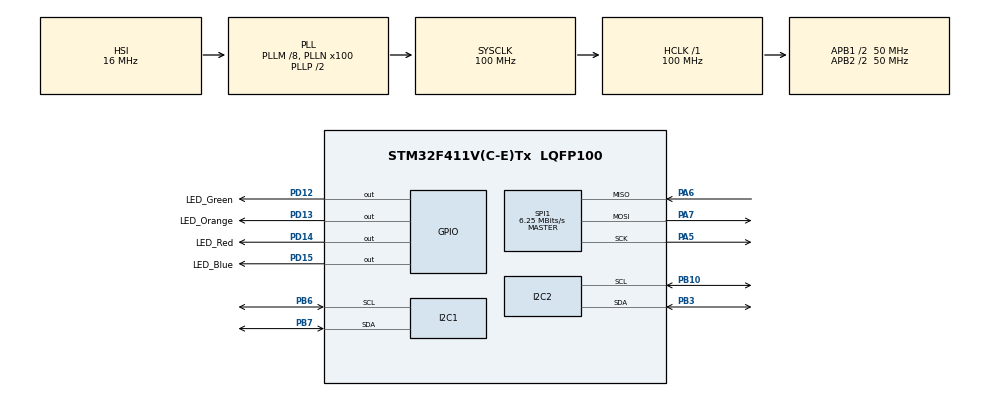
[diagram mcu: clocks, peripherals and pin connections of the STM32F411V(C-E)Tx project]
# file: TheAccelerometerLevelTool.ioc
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Mcu.Family=STM32F4
Mcu.Name=STM32F411V(C-E)Tx
Mcu.Package=LQFP100
NVIC.PriorityGroup=NVIC_PRIORITYGROUP_0
PA5.Mode=Full_Duplex_Master
PA5.Signal=SPI1_SCK
PA6.Mode=Full_Duplex_Master
PA6.Signal=SPI1_MISO
PA7.Mode=Full_Duplex_Master
PA7.Signal=SPI1_MOSI
PB10.Mode=I2C
PB10.Signal=I2C2_SCL
PB3.Mode=I2C
PB3.Signal=I2C2_SDA
PB6.Mode=I2C
PB6.Signal=I2C1_SCL
PB7.Mode=I2C
PB7.Signal=I2C1_SDA
PD12.GPIO_Label=LED_Green
PD12.Signal=GPIO_Output
PD13.GPIO_Label=LED_Orange
PD13.Signal=GPIO_Output
PD14.GPIO_Label=LED_Red
PD14.Signal=GPIO_Output
PD15.GPIO_Label=LED_Blue
PD15.Signal=GPIO_Output
ProjectManager.HeapSize=0x200
ProjectManager.StackSize=0x400
ProjectManager.TargetToolchain=STM32CubeIDE
RCC.48MHZClocksFreq_Value=25000000
RCC.AHBFreq_Value=100000000
RCC.APB1CLKDivider=RCC_HCLK_DIV2
RCC.APB1Freq_Value=50000000
RCC.APB1TimFreq_Value=100000000
RCC.APB2CLKDivider=RCC_HCLK_DIV2
RCC.APB2Freq_Value=50000000
RCC.APB2TimFreq_Value=100000000
RCC.CortexFreq_Value=100000000
RCC.HCLKFreq_Value=100000000
RCC.HSE_VALUE=8000000
RCC.HSI_VALUE=16000000
RCC.LSE_VALUE=32768
RCC.PLLI2SM=5
RCC.PLLI2SN=200
RCC.PLLM=8
RCC.PLLN=100
RCC.PLLQ=8
RCC.SYSCLKFreq_VALUE=100000000
RCC.SYSCLKSource=RCC_SYSCLKSOURCE_PLLCLK
RCC.VCOOutputFreq_Value=200000000
SPI1.BaudRatePrescaler=SPI_BAUDRATEPRESCALER_8
SPI1.CalculateBaudRate=6.25 MBits/s
SPI1.Direction=SPI_DIRECTION_2LINES
SPI1.Mode=SPI_MODE_MASTER
SPI1.VirtualType=VM_MASTER
board=STM32F411E-DISCO

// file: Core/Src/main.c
/* USER CODE BEGIN Header */
/**
  ******************************************************************************
  * @file           : main.c
  * @brief          : Main program body
  ******************************************************************************
  * @attention
  *
  * Copyright (c) 2022 STMicroelectronics.
  * All rights reserved.
  *
  * This software is licensed under terms that can be found in the LICENSE file
  * in the root directory of this software component.
  * If no LICENSE file comes with this software, it is provided AS-IS.
  *
  ******************************************************************************
  */
/* USER CODE END Header */
#include "main.h"

/* USER CODE BEGIN Includes */
#include <stdlib.h>
#include <stdio.h>
#include "../../../Drivers/BSP/STM32F411E-Discovery/stm32f411e_discovery.h"
#include "../../../Drivers/BSP/STM32F411E-Discovery/stm32f411e_discovery_accelerometer.h"
#include "ssd1306.h"
#include "fonts.h"
/* USER CODE END Includes */

I2C_HandleTypeDef hi2c1;
I2C_HandleTypeDef hi2c2;

SPI_HandleTypeDef hspi1;

void SystemClock_Config(void);
static void MX_GPIO_Init(void);
static void MX_I2C1_Init(void);
static void MX_I2C2_Init(void);
static void MX_SPI1_Init(void);

int main(void)
{

  /* MCU Configuration--------------------------------------------------------*/

  /* Reset of all peripherals, Initializes the Flash interface and the Systick. */
  HAL_Init();

  /* Configure the system clock */
  SystemClock_Config();

  /* USER CODE BEGIN SysInit */
  BSP_ACCELERO_Init();
  ssd1306_Init(&hi2c2);
  /* USER CODE END SysInit */

  /* Initialize all configured peripherals */
  MX_GPIO_Init();
  MX_I2C1_Init();
  MX_I2C2_Init();
  MX_SPI1_Init();
  /* USER CODE BEGIN 2 */
  int16_t axis[3] = {0};
  int16_t xAxis, yAxis = 0x00;

  int16_t ThresholdHigh = 1000;
  int16_t ThresholdLow = -1000;
  uint32_t delayMs = 10;

  char xText[16];
  char yText[16];

  int16_t xDisplay, xOffset = 1, xScale = 185;
  int16_t yDisplay, yOffset = 2, yScale = 180;

  void turnOnLed(GPIO_TypeDef* GPIOx, uint16_t GPIO_Pin)
  {
	  HAL_GPIO_WritePin(GPIOx, GPIO_Pin, GPIO_PIN_SET);
	  HAL_Delay(delayMs);
  }

  void turnOfLEDS()
  {
	  HAL_GPIO_WritePin(LED_Green_GPIO_Port, LED_Green_Pin, GPIO_PIN_RESET);
	  HAL_GPIO_WritePin(LED_Red_GPIO_Port, LED_Red_Pin, GPIO_PIN_RESET);
	  HAL_GPIO_WritePin(LED_Orange_GPIO_Port, LED_Orange_Pin, GPIO_PIN_RESET);
	  HAL_GPIO_WritePin(LED_Blue_GPIO_Port, LED_Blue_Pin, GPIO_PIN_RESET);
  }
  /* USER CODE END 2 */

  /* Infinite loop */
  while (1)
    {

      /* USER CODE BEGIN 3 */

  		BSP_ACCELERO_GetXYZ(axis);

  		ssd1306_Fill(Black);

  		xDisplay = axis[0] / xScale - xOffset;
  		yDisplay = axis[1] / yScale - yOffset;

  		xAxis = axis[0];
  		yAxis = axis[1];

  		if(abs(xAxis) > abs(yAxis))
  		{
  			if(xAxis > ThresholdHigh)
  				turnOnLed(LED_Green_GPIO_Port, LED_Green_Pin);

  			else if(xAxis < ThresholdLow)
  				turnOnLed(LED_Red_GPIO_Port, LED_Red_Pin);

  			else { HAL_Delay(delayMs); }
  		}

  		else
  		{
  			if(yAxis  > ThresholdHigh)
  				 turnOnLed(LED_Orange_GPIO_Port, LED_Orange_Pin);

  			else if(yAxis < ThresholdLow)
  				turnOnLed(LED_Blue_GPIO_Port, LED_Blue_Pin);

  			else { HAL_Delay(delayMs); }
  		}

  		ssd1306_SetCursor(10, 10);
  		sprintf(xText, "x: %d", xDisplay);
  		ssd1306_WriteString(xText, Font_11x18, White);

  		ssd1306_SetCursor(10, 40);
  		sprintf(yText, "y: %d", yDisplay);
  		ssd1306_WriteString(yText, Font_11x18, White);

  		ssd1306_UpdateScreen(&hi2c2);

  		turnOfLEDS();
  }
  /* USER CODE END 3 */
}

void SystemClock_Config(void)
{
  RCC_OscInitTypeDef RCC_OscInitStruct = {0};
  RCC_ClkInitTypeDef RCC_ClkInitStruct = {0};

  /** Configure the main internal regulator output voltage
  */
  __HAL_RCC_PWR_CLK_ENABLE();
  __HAL_PWR_VOLTAGESCALING_CONFIG(PWR_REGULATOR_VOLTAGE_SCALE1);

  /** Initializes the RCC Oscillators according to the specified parameters
  * in the RCC_OscInitTypeDef structure.
  */
  RCC_OscInitStruct.OscillatorType = RCC_OSCILLATORTYPE_HSI;
  RCC_OscInitStruct.HSIState = RCC_HSI_ON;
  RCC_OscInitStruct.HSICalibrationValue = RCC_HSICALIBRATION_DEFAULT;
  RCC_OscInitStruct.PLL.PLLState = RCC_PLL_ON;
  RCC_OscInitStruct.PLL.PLLSource = RCC_PLLSOURCE_HSI;
  RCC_OscInitStruct.PLL.PLLM = 8;
  RCC_OscInitStruct.PLL.PLLN = 100;
  RCC_OscInitStruct.PLL.PLLP = RCC_PLLP_DIV2;
  RCC_OscInitStruct.PLL.PLLQ = 8;
  if (HAL_RCC_OscConfig(&RCC_OscInitStruct) != HAL_OK)
  {
    Error_Handler();
  }

  /** Initializes the CPU, AHB and APB buses clocks
  */
  RCC_ClkInitStruct.ClockType = RCC_CLOCKTYPE_HCLK|RCC_CLOCKTYPE_SYSCLK
                              |RCC_CLOCKTYPE_PCLK1|RCC_CLOCKTYPE_PCLK2;
  RCC_ClkInitStruct.SYSCLKSource = RCC_SYSCLKSOURCE_PLLCLK;
  RCC_ClkInitStruct.AHBCLKDivider = RCC_SYSCLK_DIV1;
  RCC_ClkInitStruct.APB1CLKDivider = RCC_HCLK_DIV2;
  RCC_ClkInitStruct.APB2CLKDivider = RCC_HCLK_DIV2;

  if (HAL_RCC_ClockConfig(&RCC_ClkInitStruct, FLASH_LATENCY_3) != HAL_OK)
  {
    Error_Handler();
  }
}

static void MX_I2C1_Init(void)
{

  hi2c1.Instance = I2C1;
  hi2c1.Init.ClockSpeed = 100000;
  hi2c1.Init.DutyCycle = I2C_DUTYCYCLE_2;
  hi2c1.Init.OwnAddress1 = 0;
  hi2c1.Init.AddressingMode = I2C_ADDRESSINGMODE_7BIT;
  hi2c1.Init.DualAddressMode = I2C_DUALADDRESS_DISABLE;
  hi2c1.Init.OwnAddress2 = 0;
  hi2c1.Init.GeneralCallMode = I2C_GENERALCALL_DISABLE;
  hi2c1.Init.NoStretchMode = I2C_NOSTRETCH_DISABLE;
  if (HAL_I2C_Init(&hi2c1) != HAL_OK)
  {
    Error_Handler();
  }

}

static void MX_I2C2_Init(void)
{

  hi2c2.Instance = I2C2;
  hi2c2.Init.ClockSpeed = 100000;
  hi2c2.Init.DutyCycle = I2C_DUTYCYCLE_2;
  hi2c2.Init.OwnAddress1 = 0;
  hi2c2.Init.AddressingMode = I2C_ADDRESSINGMODE_7BIT;
  hi2c2.Init.DualAddressMode = I2C_DUALADDRESS_DISABLE;
  hi2c2.Init.OwnAddress2 = 0;
  hi2c2.Init.GeneralCallMode = I2C_GENERALCALL_DISABLE;
  hi2c2.Init.NoStretchMode = I2C_NOSTRETCH_DISABLE;
  if (HAL_I2C_Init(&hi2c2) != HAL_OK)
  {
    Error_Handler();
  }

}

static void MX_SPI1_Init(void)
{

  /* SPI1 parameter configuration*/
  hspi1.Instance = SPI1;
  hspi1.Init.Mode = SPI_MODE_MASTER;
  hspi1.Init.Direction = SPI_DIRECTION_2LINES;
  hspi1.Init.DataSize = SPI_DATASIZE_8BIT;
  hspi1.Init.CLKPolarity = SPI_POLARITY_LOW;
  hspi1.Init.CLKPhase = SPI_PHASE_1EDGE;
  hspi1.Init.NSS = SPI_NSS_SOFT;
  hspi1.Init.BaudRatePrescaler = SPI_BAUDRATEPRESCALER_8;
  hspi1.Init.FirstBit = SPI_FIRSTBIT_MSB;
  hspi1.Init.TIMode = SPI_TIMODE_DISABLE;
  hspi1.Init.CRCCalculation = SPI_CRCCALCULATION_DISABLE;
  hspi1.Init.CRCPolynomial = 10;
  if (HAL_SPI_Init(&hspi1) != HAL_OK)
  {
    Error_Handler();
  }

}

static void MX_GPIO_Init(void)
{
  GPIO_InitTypeDef GPIO_InitStruct = {0};

  /* GPIO Ports Clock Enable */
  __HAL_RCC_GPIOA_CLK_ENABLE();
  __HAL_RCC_GPIOB_CLK_ENABLE();
  __HAL_RCC_GPIOD_CLK_ENABLE();

  /*Configure GPIO pin Output Level */
  HAL_GPIO_WritePin(GPIOD, LED_Green_Pin|LED_Orange_Pin|LED_Red_Pin|LED_Blue_Pin, GPIO_PIN_RESET);

  /*Configure GPIO pins : LED_Green_Pin LED_Orange_Pin LED_Red_Pin LED_Blue_Pin */
  GPIO_InitStruct.Pin = LED_Green_Pin|LED_Orange_Pin|LED_Red_Pin|LED_Blue_Pin;
  GPIO_InitStruct.Mode = GPIO_MODE_OUTPUT_PP;
  GPIO_InitStruct.Pull = GPIO_NOPULL;
  GPIO_InitStruct.Speed = GPIO_SPEED_FREQ_LOW;
  HAL_GPIO_Init(GPIOD, &GPIO_InitStruct);

}

void Error_Handler(void)
{
  __disable_irq();
  while (1)
  {
  }
}
